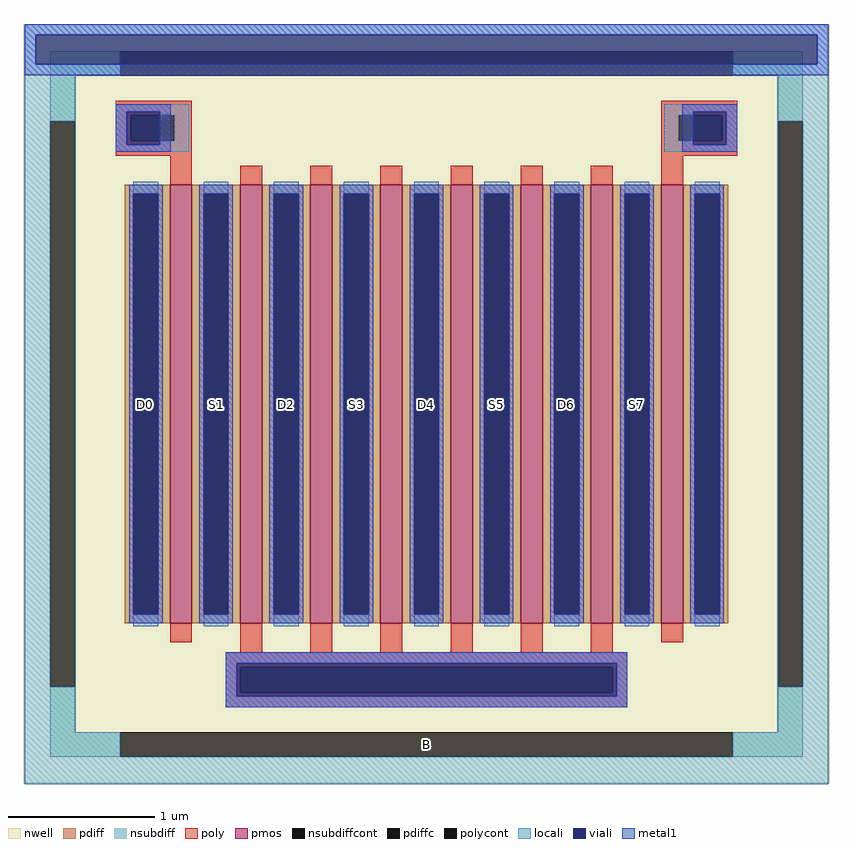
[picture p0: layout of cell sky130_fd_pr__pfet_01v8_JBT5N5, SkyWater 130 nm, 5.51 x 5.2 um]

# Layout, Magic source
magic
tech sky130A
magscale 1 2
<< nwell >>
rect -551 -519 551 519
<< pmos >>
rect -351 -300 -321 300
rect -255 -300 -225 300
rect -159 -300 -129 300
rect -63 -300 -33 300
rect 33 -300 63 300
rect 129 -300 159 300
rect 225 -300 255 300
rect 321 -300 351 300
<< pdiff >>
rect -413 288 -351 300
rect -413 -288 -401 288
rect -367 -288 -351 288
rect -413 -300 -351 -288
rect -321 288 -255 300
rect -321 -288 -305 288
rect -271 -288 -255 288
rect -321 -300 -255 -288
rect -225 288 -159 300
rect -225 -288 -209 288
rect -175 -288 -159 288
rect -225 -300 -159 -288
rect -129 288 -63 300
rect -129 -288 -113 288
rect -79 -288 -63 288
rect -129 -300 -63 -288
rect -33 288 33 300
rect -33 -288 -17 288
rect 17 -288 33 288
rect -33 -300 33 -288
rect 63 288 129 300
rect 63 -288 79 288
rect 113 -288 129 288
rect 63 -300 129 -288
rect 159 288 225 300
rect 159 -288 175 288
rect 209 -288 225 288
rect 159 -300 225 -288
rect 255 288 321 300
rect 255 -288 271 288
rect 305 -288 321 288
rect 255 -300 321 -288
rect 351 288 413 300
rect 351 -288 367 288
rect 401 -288 413 288
rect 351 -300 413 -288
<< pdiffc >>
rect -401 -288 -367 288
rect -305 -288 -271 288
rect -209 -288 -175 288
rect -113 -288 -79 288
rect -17 -288 17 288
rect 79 -288 113 288
rect 175 -288 209 288
rect 271 -288 305 288
rect 367 -288 401 288
<< nsubdiff >>
rect -515 449 -419 483
rect 419 449 515 483
rect -515 387 -481 449
rect 481 387 515 449
rect -515 -449 -481 -387
rect 481 -449 515 -387
rect -515 -483 -419 -449
rect 419 -483 515 -449
<< nsubdiffcont >>
rect -419 449 419 483
rect -515 -387 -481 387
rect 481 -387 515 387
rect -419 -483 419 -449
<< poly >>
rect -425 395 -321 415
rect -425 360 -405 395
rect -345 360 -321 395
rect -425 340 -321 360
rect -351 300 -321 340
rect 321 395 425 415
rect 321 360 345 395
rect 405 360 425 395
rect 321 340 425 360
rect -255 300 -225 326
rect -159 300 -129 326
rect -63 300 -33 326
rect 33 300 63 326
rect 129 300 159 326
rect 225 300 255 326
rect 321 300 351 340
rect -351 -326 -321 -300
rect -255 -340 -225 -300
rect -159 -340 -129 -300
rect -63 -340 -33 -300
rect 33 -340 63 -300
rect 129 -340 159 -300
rect 225 -340 255 -300
rect 321 -326 351 -300
rect -275 -360 275 -340
rect -275 -395 -255 -360
rect 255 -395 275 -360
rect -275 -415 275 -395
<< polycont >>
rect -405 360 -345 395
rect 345 360 405 395
rect -255 -395 255 -360
<< locali >>
rect -550 505 550 520
rect -550 465 -535 505
rect 535 465 550 505
rect -550 449 -419 465
rect 419 449 550 465
rect -550 387 -480 449
rect -550 -387 -515 387
rect -481 -387 -480 387
rect -425 400 -325 410
rect -425 355 -410 400
rect -365 395 -325 400
rect -345 360 -325 395
rect -365 355 -325 360
rect -425 345 -325 355
rect 325 400 425 410
rect 325 395 365 400
rect 325 360 345 395
rect 325 355 365 360
rect 410 355 425 400
rect 325 345 425 355
rect 480 387 550 449
rect -401 288 -367 304
rect -401 -304 -367 -288
rect -305 288 -271 304
rect -305 -304 -271 -288
rect -209 288 -175 304
rect -209 -304 -175 -288
rect -113 288 -79 304
rect -113 -304 -79 -288
rect -17 288 17 304
rect -17 -304 17 -288
rect 79 288 113 304
rect 79 -304 113 -288
rect 175 288 209 304
rect 175 -304 209 -288
rect 271 288 305 304
rect 271 -304 305 -288
rect 367 288 401 304
rect 367 -304 401 -288
rect -550 -449 -480 -387
rect -275 -355 275 -340
rect -275 -400 -260 -355
rect 260 -400 275 -355
rect -275 -415 275 -400
rect 480 -387 481 387
rect 515 -387 550 387
rect 480 -449 550 -387
rect -550 -483 -419 -449
rect 419 -483 550 -449
rect -550 -520 550 -483
<< viali >>
rect -535 483 535 505
rect -535 465 -419 483
rect -419 465 419 483
rect 419 465 535 483
rect -410 395 -365 400
rect -410 360 -405 395
rect -405 360 -365 395
rect -410 355 -365 360
rect 365 395 410 400
rect 365 360 405 395
rect 405 360 410 395
rect 365 355 410 360
rect -401 -288 -367 288
rect -305 -288 -271 288
rect -209 -288 -175 288
rect -113 -288 -79 288
rect -17 -288 17 288
rect 79 -288 113 288
rect 175 -288 209 288
rect 271 -288 305 288
rect 367 -288 401 288
rect -260 -360 260 -355
rect -260 -395 -255 -360
rect -255 -395 255 -360
rect 255 -395 260 -360
rect -260 -400 260 -395
<< metal1 >>
rect -550 505 550 520
rect -550 465 -535 505
rect 535 465 550 505
rect -550 450 550 465
rect -425 400 -350 410
rect -425 355 -410 400
rect -365 355 -350 400
rect -425 345 -350 355
rect 350 400 425 410
rect 350 355 365 400
rect 410 355 425 400
rect 350 345 425 355
rect -407 288 -361 300
rect -407 -288 -401 288
rect -367 -288 -361 288
rect -407 -300 -361 -288
rect -311 288 -265 300
rect -311 -288 -305 288
rect -271 -288 -265 288
rect -311 -300 -265 -288
rect -215 288 -169 300
rect -215 -288 -209 288
rect -175 -288 -169 288
rect -215 -300 -169 -288
rect -119 288 -73 300
rect -119 -288 -113 288
rect -79 -288 -73 288
rect -119 -300 -73 -288
rect -23 288 23 300
rect -23 -288 -17 288
rect 17 -288 23 288
rect -23 -300 23 -288
rect 73 288 119 300
rect 73 -288 79 288
rect 113 -288 119 288
rect 73 -300 119 -288
rect 169 288 215 300
rect 169 -288 175 288
rect 209 -288 215 288
rect 169 -300 215 -288
rect 265 288 311 300
rect 265 -288 271 288
rect 305 -288 311 288
rect 265 -300 311 -288
rect 361 288 407 300
rect 361 -288 367 288
rect 401 -288 407 288
rect 361 -300 407 -288
rect -275 -355 275 -340
rect -275 -400 -260 -355
rect 260 -400 275 -355
rect -275 -415 275 -400
<< labels >>
rlabel nsubdiffcont 0 -466 0 -466 0 B
port 1 nsew
rlabel pdiffc -384 0 -384 0 0 D0
port 2 nsew
rlabel pdiffc -288 0 -288 0 0 S1
port 4 nsew
rlabel pdiffc -192 0 -192 0 0 D2
port 6 nsew
rlabel pdiffc -96 0 -96 0 0 S3
port 8 nsew
rlabel pdiffc 0 0 0 0 0 D4
port 10 nsew
rlabel pdiffc 96 0 96 0 0 S5
port 12 nsew
rlabel pdiffc 192 0 192 0 0 D6
port 14 nsew
rlabel pdiffc 288 0 288 0 0 S7
port 16 nsew
<< properties >>
string FIXED_BBOX -498 -466 498 466
string gencell sky130_fd_pr__pfet_01v8
string library sky130
string parameters w 3.0 l 0.15 m 1 nf 8 diffcov 100 polycov 100 guard 1 glc 1 grc 1 gtc 1 gbc 1 tbcov 100 rlcov 100 topc 1 botc 1 poverlap 0 doverlap 1 lmin 0.15 wmin 0.42 class mosfet compatible {sky130_fd_pr__pfet_01v8  sky130_fd_pr__pfet_01v8_lvt sky130_fd_pr__pfet_01v8_hvt  sky130_fd_pr__pfet_g5v0d10v5} full_metal 1 conn_gates 0 viasrc 100 viadrn 100 viagate 100 viagb 0 viagr 0 viagl 0 viagt 0 doports 1
<< end >>
